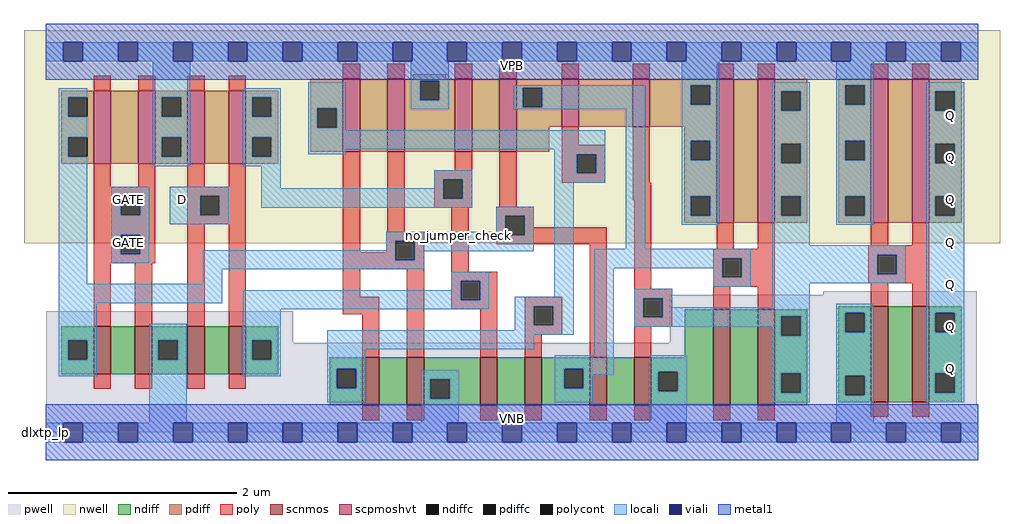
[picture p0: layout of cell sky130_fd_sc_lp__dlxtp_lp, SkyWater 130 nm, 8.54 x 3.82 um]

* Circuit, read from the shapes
.subckt sky130_fd_sc_lp__dlxtp_lp D GATE VGND VNB VPB VPWR Q
XM1 n1 GATE n2 VNB sky130_fd_pr__nfet_01v8 w=0.42 l=0.15
XM2 VGND GATE n1 VNB sky130_fd_pr__nfet_01v8 w=0.42 l=0.15
XM3 n3 D VGND VNB sky130_fd_pr__nfet_01v8 w=0.42 l=0.15
XM4 n4 D n3 VNB sky130_fd_pr__nfet_01v8 w=0.42 l=0.15
XM5 n5 n2 n6 VNB sky130_fd_pr__nfet_01v8 w=0.42 l=0.15
XM6 VGND n2 n5 VNB sky130_fd_pr__nfet_01v8 w=0.42 l=0.15
XM7 n7 n4 VGND VNB sky130_fd_pr__nfet_01v8 w=0.42 l=0.15
XM8 n8 n6 n7 VNB sky130_fd_pr__nfet_01v8 w=0.42 l=0.15
XM9 n9 n2 n8 VNB sky130_fd_pr__nfet_01v8 w=0.42 l=0.15
XM10 VGND n10 n9 VNB sky130_fd_pr__nfet_01v8 w=0.42 l=0.15
XM11 n11 n8 VGND VNB sky130_fd_pr__nfet_01v8 w=0.84 l=0.15
XM12 n10 n8 n11 VNB sky130_fd_pr__nfet_01v8 w=0.84 l=0.15
XM13 n12 n10 VGND VNB sky130_fd_pr__nfet_01v8 w=0.84 l=0.15
XM14 Q n10 n12 VNB sky130_fd_pr__nfet_01v8 w=0.84 l=0.15
XM15 n13 GATE n2 VPB sky130_fd_pr__pfet_01v8_hvt w=0.64 l=0.15
XM16 VPWR GATE n13 VPB sky130_fd_pr__pfet_01v8_hvt w=0.64 l=0.15
XM17 n14 D VPWR VPB sky130_fd_pr__pfet_01v8_hvt w=0.64 l=0.15
XM18 n4 D n14 VPB sky130_fd_pr__pfet_01v8_hvt w=0.64 l=0.15
XM19 n15 n2 n6 VPB sky130_fd_pr__pfet_01v8_hvt w=0.64 l=0.15
XM20 VPWR n2 n15 VPB sky130_fd_pr__pfet_01v8_hvt w=0.64 l=0.15
XM21 n16 n4 VPWR VPB sky130_fd_pr__pfet_01v8_hvt w=0.64 l=0.15
XM22 n8 n2 n16 VPB sky130_fd_pr__pfet_01v8_hvt w=0.64 l=0.15
XM23 n17 n6 n8 VPB sky130_fd_pr__pfet_01v8_hvt w=0.42 l=0.15
XM24 VPWR n10 n17 VPB sky130_fd_pr__pfet_01v8_hvt w=0.42 l=0.15
XM25 n18 n8 VPWR VPB sky130_fd_pr__pfet_01v8_hvt w=1.26 l=0.15
XM26 n10 n8 n18 VPB sky130_fd_pr__pfet_01v8_hvt w=1.26 l=0.15
XM27 n19 n10 VPWR VPB sky130_fd_pr__pfet_01v8_hvt w=1.26 l=0.15
XM28 Q n10 n19 VPB sky130_fd_pr__pfet_01v8_hvt w=1.26 l=0.15
.ends

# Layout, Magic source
magic
tech sky130A
magscale 1 2
<< nwell >>
rect -38 331 1670 704
<< pwell >>
rect 1361 241 1629 247
rect 1 157 433 212
rect 1092 157 1629 241
rect 1 49 1629 157
rect 0 0 1632 49
<< scnmos >>
rect 84 102 114 186
rect 156 102 186 186
rect 248 102 278 186
rect 320 102 350 186
rect 554 47 584 131
rect 632 47 662 131
rect 760 47 790 131
rect 838 47 868 131
rect 952 47 982 131
rect 1030 47 1060 131
rect 1168 47 1198 215
rect 1246 47 1276 215
rect 1444 53 1474 221
rect 1516 53 1546 221
<< scpmoshvt >>
rect 84 470 114 598
rect 162 470 192 598
rect 248 470 278 598
rect 320 470 350 598
rect 520 491 550 619
rect 598 491 628 619
rect 716 491 746 619
rect 794 491 824 619
rect 903 535 933 619
rect 1027 535 1057 619
rect 1174 367 1204 619
rect 1246 367 1276 619
rect 1444 367 1474 619
rect 1516 367 1546 619
<< ndiff >>
rect 27 161 84 186
rect 27 127 39 161
rect 73 127 84 161
rect 27 102 84 127
rect 114 102 156 186
rect 186 161 248 186
rect 186 127 197 161
rect 231 127 248 161
rect 186 102 248 127
rect 278 102 320 186
rect 350 161 407 186
rect 350 127 361 161
rect 395 127 407 161
rect 1118 131 1168 215
rect 350 102 407 127
rect 497 111 554 131
rect 497 77 509 111
rect 543 77 554 111
rect 497 47 554 77
rect 584 47 632 131
rect 662 93 760 131
rect 662 59 673 93
rect 707 59 760 93
rect 662 47 760 59
rect 790 47 838 131
rect 868 111 952 131
rect 868 77 907 111
rect 941 77 952 111
rect 868 47 952 77
rect 982 47 1030 131
rect 1060 106 1168 131
rect 1060 72 1072 106
rect 1106 72 1168 106
rect 1060 47 1168 72
rect 1198 47 1246 215
rect 1276 203 1333 215
rect 1276 169 1287 203
rect 1321 169 1333 203
rect 1276 103 1333 169
rect 1276 69 1287 103
rect 1321 69 1333 103
rect 1276 47 1333 69
rect 1387 209 1444 221
rect 1387 175 1399 209
rect 1433 175 1444 209
rect 1387 99 1444 175
rect 1387 65 1399 99
rect 1433 65 1444 99
rect 1387 53 1444 65
rect 1474 53 1516 221
rect 1546 209 1603 221
rect 1546 175 1557 209
rect 1591 175 1603 209
rect 1546 103 1603 175
rect 1546 69 1557 103
rect 1591 69 1603 103
rect 1546 53 1603 69
<< pdiff >>
rect 643 619 701 627
rect 27 586 84 598
rect 27 552 39 586
rect 73 552 84 586
rect 27 516 84 552
rect 27 482 39 516
rect 73 482 84 516
rect 27 470 84 482
rect 114 470 162 598
rect 192 586 248 598
rect 192 552 203 586
rect 237 552 248 586
rect 192 516 248 552
rect 192 482 203 516
rect 237 482 248 516
rect 192 470 248 482
rect 278 470 320 598
rect 350 586 407 598
rect 350 552 361 586
rect 395 552 407 586
rect 350 516 407 552
rect 350 482 361 516
rect 395 482 407 516
rect 463 567 520 619
rect 463 533 475 567
rect 509 533 520 567
rect 463 491 520 533
rect 550 491 598 619
rect 628 615 716 619
rect 628 581 655 615
rect 689 581 716 615
rect 628 491 716 581
rect 746 491 794 619
rect 824 603 903 619
rect 824 569 835 603
rect 869 569 903 603
rect 824 535 903 569
rect 933 535 1027 619
rect 1057 607 1174 619
rect 1057 573 1129 607
rect 1163 573 1174 607
rect 1057 535 1174 573
rect 824 491 881 535
rect 350 470 407 482
rect 1117 510 1174 535
rect 1117 476 1129 510
rect 1163 476 1174 510
rect 1117 413 1174 476
rect 1117 379 1129 413
rect 1163 379 1174 413
rect 1117 367 1174 379
rect 1204 367 1246 619
rect 1276 597 1333 619
rect 1276 563 1287 597
rect 1321 563 1333 597
rect 1276 505 1333 563
rect 1276 471 1287 505
rect 1321 471 1333 505
rect 1276 413 1333 471
rect 1276 379 1287 413
rect 1321 379 1333 413
rect 1276 367 1333 379
rect 1387 607 1444 619
rect 1387 573 1399 607
rect 1433 573 1444 607
rect 1387 510 1444 573
rect 1387 476 1399 510
rect 1433 476 1444 510
rect 1387 413 1444 476
rect 1387 379 1399 413
rect 1433 379 1444 413
rect 1387 367 1444 379
rect 1474 367 1516 619
rect 1546 597 1603 619
rect 1546 563 1557 597
rect 1591 563 1603 597
rect 1546 505 1603 563
rect 1546 471 1557 505
rect 1591 471 1603 505
rect 1546 413 1603 471
rect 1546 379 1557 413
rect 1591 379 1603 413
rect 1546 367 1603 379
<< ndiffc >>
rect 39 127 73 161
rect 197 127 231 161
rect 361 127 395 161
rect 509 77 543 111
rect 673 59 707 93
rect 907 77 941 111
rect 1072 72 1106 106
rect 1287 169 1321 203
rect 1287 69 1321 103
rect 1399 175 1433 209
rect 1399 65 1433 99
rect 1557 175 1591 209
rect 1557 69 1591 103
<< pdiffc >>
rect 39 552 73 586
rect 39 482 73 516
rect 203 552 237 586
rect 203 482 237 516
rect 361 552 395 586
rect 361 482 395 516
rect 475 533 509 567
rect 655 581 689 615
rect 835 569 869 603
rect 1129 573 1163 607
rect 1129 476 1163 510
rect 1129 379 1163 413
rect 1287 563 1321 597
rect 1287 471 1321 505
rect 1287 379 1321 413
rect 1399 573 1433 607
rect 1399 476 1433 510
rect 1399 379 1433 413
rect 1557 563 1591 597
rect 1557 471 1591 505
rect 1557 379 1591 413
<< poly >>
rect 84 598 114 624
rect 162 598 192 624
rect 248 598 278 624
rect 320 598 350 624
rect 520 619 550 645
rect 598 619 628 645
rect 716 619 746 645
rect 794 619 824 645
rect 903 619 933 645
rect 1027 619 1057 645
rect 1174 619 1204 645
rect 1246 619 1276 645
rect 1444 619 1474 645
rect 1516 619 1546 645
rect 903 503 933 535
rect 84 430 114 470
rect 162 430 192 470
rect 84 414 192 430
rect 84 380 131 414
rect 165 380 192 414
rect 84 346 192 380
rect 84 312 131 346
rect 165 312 192 346
rect 84 296 192 312
rect 248 430 278 470
rect 320 430 350 470
rect 248 414 350 430
rect 248 380 270 414
rect 304 380 350 414
rect 248 364 350 380
rect 84 186 114 296
rect 156 186 186 296
rect 248 186 278 364
rect 320 186 350 364
rect 520 315 550 491
rect 598 351 628 491
rect 716 459 746 491
rect 680 443 746 459
rect 680 409 696 443
rect 730 409 746 443
rect 680 393 746 409
rect 794 395 824 491
rect 903 487 979 503
rect 903 453 929 487
rect 963 453 979 487
rect 903 437 979 453
rect 1027 437 1057 535
rect 1027 407 1060 437
rect 596 335 662 351
rect 596 315 612 335
rect 520 301 612 315
rect 646 301 662 335
rect 520 285 662 301
rect 520 237 550 285
rect 520 207 584 237
rect 554 131 584 207
rect 632 131 662 285
rect 710 281 740 393
rect 788 379 854 395
rect 788 345 804 379
rect 838 359 854 379
rect 838 345 982 359
rect 788 329 982 345
rect 710 265 790 281
rect 710 231 726 265
rect 760 231 790 265
rect 710 215 790 231
rect 760 131 790 215
rect 838 221 904 237
rect 838 187 854 221
rect 888 187 904 221
rect 838 171 904 187
rect 838 131 868 171
rect 952 131 982 329
rect 1030 251 1060 407
rect 1174 321 1204 367
rect 1246 321 1276 367
rect 1444 327 1474 367
rect 1516 327 1546 367
rect 1168 305 1276 321
rect 1168 271 1184 305
rect 1218 271 1276 305
rect 1168 255 1276 271
rect 1439 311 1546 327
rect 1439 277 1455 311
rect 1489 277 1546 311
rect 1439 261 1546 277
rect 1030 235 1096 251
rect 1030 201 1046 235
rect 1080 201 1096 235
rect 1168 215 1198 255
rect 1246 215 1276 255
rect 1444 221 1474 261
rect 1516 221 1546 261
rect 1030 185 1096 201
rect 1030 131 1060 185
rect 84 76 114 102
rect 156 76 186 102
rect 248 76 278 102
rect 320 76 350 102
rect 554 21 584 47
rect 632 21 662 47
rect 760 21 790 47
rect 838 21 868 47
rect 952 21 982 47
rect 1030 21 1060 47
rect 1168 21 1198 47
rect 1246 21 1276 47
rect 1444 27 1474 53
rect 1516 27 1546 53
<< polycont >>
rect 131 380 165 414
rect 131 312 165 346
rect 270 380 304 414
rect 696 409 730 443
rect 929 453 963 487
rect 612 301 646 335
rect 804 345 838 379
rect 726 231 760 265
rect 854 187 888 221
rect 1184 271 1218 305
rect 1455 277 1489 311
rect 1046 201 1080 235
<< locali >>
rect 0 649 31 683
rect 65 649 127 683
rect 161 649 223 683
rect 257 649 319 683
rect 353 649 415 683
rect 449 649 511 683
rect 545 649 607 683
rect 641 649 703 683
rect 737 649 799 683
rect 833 649 895 683
rect 929 649 991 683
rect 1025 649 1087 683
rect 1121 649 1183 683
rect 1217 649 1279 683
rect 1313 649 1375 683
rect 1409 649 1471 683
rect 1505 649 1567 683
rect 1601 649 1632 683
rect 23 586 73 602
rect 23 552 39 586
rect 23 516 73 552
rect 23 482 39 516
rect 23 260 73 482
rect 187 586 253 649
rect 639 615 705 649
rect 187 552 203 586
rect 237 552 253 586
rect 187 516 253 552
rect 187 482 203 516
rect 237 482 253 516
rect 187 466 253 482
rect 345 586 411 602
rect 345 552 361 586
rect 395 552 411 586
rect 345 516 411 552
rect 345 482 361 516
rect 395 482 411 516
rect 459 567 525 613
rect 459 533 475 567
rect 509 533 525 567
rect 639 581 655 615
rect 689 581 705 615
rect 1113 607 1179 649
rect 639 565 705 581
rect 819 603 1049 607
rect 819 569 835 603
rect 869 569 1049 603
rect 819 565 1049 569
rect 459 529 525 533
rect 459 495 979 529
rect 459 487 525 495
rect 890 487 979 495
rect 345 466 411 482
rect 115 414 181 430
rect 115 380 131 414
rect 165 380 181 414
rect 115 346 181 380
rect 217 414 320 430
rect 217 380 270 414
rect 304 380 320 414
rect 377 427 411 466
rect 680 443 746 459
rect 680 427 696 443
rect 377 409 696 427
rect 730 409 746 443
rect 377 393 746 409
rect 890 453 929 487
rect 963 453 979 487
rect 890 437 979 453
rect 217 364 320 380
rect 788 379 854 395
rect 788 351 804 379
rect 115 312 131 346
rect 165 312 181 346
rect 596 345 804 351
rect 838 345 854 379
rect 596 335 854 345
rect 596 319 612 335
rect 115 296 181 312
rect 275 301 612 319
rect 646 317 854 335
rect 646 301 662 317
rect 275 285 662 301
rect 275 260 309 285
rect 23 226 309 260
rect 710 265 776 281
rect 710 249 726 265
rect 345 231 726 249
rect 760 231 776 265
rect 890 237 924 437
rect 1015 321 1049 565
rect 1113 573 1129 607
rect 1163 573 1179 607
rect 1113 510 1179 573
rect 1113 476 1129 510
rect 1163 476 1179 510
rect 1113 413 1179 476
rect 1113 379 1129 413
rect 1163 379 1179 413
rect 1113 363 1179 379
rect 1271 597 1337 613
rect 1271 563 1287 597
rect 1321 563 1337 597
rect 1271 505 1337 563
rect 1271 471 1287 505
rect 1321 471 1337 505
rect 1271 413 1337 471
rect 1271 379 1287 413
rect 1321 379 1337 413
rect 1271 327 1337 379
rect 1383 607 1449 649
rect 1383 573 1399 607
rect 1433 573 1449 607
rect 1383 510 1449 573
rect 1383 476 1399 510
rect 1433 476 1449 510
rect 1383 413 1449 476
rect 1383 379 1399 413
rect 1433 379 1449 413
rect 1383 363 1449 379
rect 1541 597 1607 613
rect 1541 563 1557 597
rect 1591 563 1607 597
rect 1541 505 1607 563
rect 1541 471 1557 505
rect 1591 471 1607 505
rect 1541 413 1607 471
rect 1541 379 1557 413
rect 1591 379 1607 413
rect 23 161 89 226
rect 345 215 776 231
rect 821 221 924 237
rect 23 127 39 161
rect 73 127 89 161
rect 23 98 89 127
rect 181 161 247 190
rect 181 127 197 161
rect 231 127 247 161
rect 181 17 247 127
rect 345 161 411 215
rect 821 187 854 221
rect 888 187 924 221
rect 821 179 924 187
rect 345 127 361 161
rect 395 127 411 161
rect 345 98 411 127
rect 493 171 924 179
rect 960 305 1234 321
rect 960 287 1184 305
rect 493 145 855 171
rect 493 111 559 145
rect 960 135 994 287
rect 1168 271 1184 287
rect 1218 271 1234 305
rect 1168 255 1234 271
rect 1271 311 1505 327
rect 1271 277 1455 311
rect 1489 277 1505 311
rect 1271 261 1505 277
rect 1030 235 1096 251
rect 1030 201 1046 235
rect 1080 219 1096 235
rect 1271 219 1337 261
rect 1080 203 1337 219
rect 1080 201 1287 203
rect 1030 185 1287 201
rect 1271 169 1287 185
rect 1321 169 1337 203
rect 493 77 509 111
rect 543 77 559 111
rect 891 111 994 135
rect 493 53 559 77
rect 657 93 723 109
rect 657 59 673 93
rect 707 59 723 93
rect 657 17 723 59
rect 891 77 907 111
rect 941 101 994 111
rect 1056 106 1122 135
rect 941 77 957 101
rect 891 53 957 77
rect 1056 72 1072 106
rect 1106 72 1122 106
rect 1056 17 1122 72
rect 1271 103 1337 169
rect 1271 69 1287 103
rect 1321 69 1337 103
rect 1271 53 1337 69
rect 1383 209 1449 225
rect 1383 175 1399 209
rect 1433 175 1449 209
rect 1383 99 1449 175
rect 1383 65 1399 99
rect 1433 65 1449 99
rect 1383 17 1449 65
rect 1541 209 1607 379
rect 1541 175 1557 209
rect 1591 175 1607 209
rect 1541 103 1607 175
rect 1541 69 1557 103
rect 1591 69 1607 103
rect 1541 53 1607 69
rect 0 -17 31 17
rect 65 -17 127 17
rect 161 -17 223 17
rect 257 -17 319 17
rect 353 -17 415 17
rect 449 -17 511 17
rect 545 -17 607 17
rect 641 -17 703 17
rect 737 -17 799 17
rect 833 -17 895 17
rect 929 -17 991 17
rect 1025 -17 1087 17
rect 1121 -17 1183 17
rect 1217 -17 1279 17
rect 1313 -17 1375 17
rect 1409 -17 1471 17
rect 1505 -17 1567 17
rect 1601 -17 1632 17
<< viali >>
rect 31 649 65 683
rect 127 649 161 683
rect 223 649 257 683
rect 319 649 353 683
rect 415 649 449 683
rect 511 649 545 683
rect 607 649 641 683
rect 703 649 737 683
rect 799 649 833 683
rect 895 649 929 683
rect 991 649 1025 683
rect 1087 649 1121 683
rect 1183 649 1217 683
rect 1279 649 1313 683
rect 1375 649 1409 683
rect 1471 649 1505 683
rect 1567 649 1601 683
rect 31 -17 65 17
rect 127 -17 161 17
rect 223 -17 257 17
rect 319 -17 353 17
rect 415 -17 449 17
rect 511 -17 545 17
rect 607 -17 641 17
rect 703 -17 737 17
rect 799 -17 833 17
rect 895 -17 929 17
rect 991 -17 1025 17
rect 1087 -17 1121 17
rect 1183 -17 1217 17
rect 1279 -17 1313 17
rect 1375 -17 1409 17
rect 1471 -17 1505 17
rect 1567 -17 1601 17
<< metal1 >>
rect 0 683 1632 715
rect 0 649 31 683
rect 65 649 127 683
rect 161 649 223 683
rect 257 649 319 683
rect 353 649 415 683
rect 449 649 511 683
rect 545 649 607 683
rect 641 649 703 683
rect 737 649 799 683
rect 833 649 895 683
rect 929 649 991 683
rect 1025 649 1087 683
rect 1121 649 1183 683
rect 1217 649 1279 683
rect 1313 649 1375 683
rect 1409 649 1471 683
rect 1505 649 1567 683
rect 1601 649 1632 683
rect 0 617 1632 649
rect 0 17 1632 49
rect 0 -17 31 17
rect 65 -17 127 17
rect 161 -17 223 17
rect 257 -17 319 17
rect 353 -17 415 17
rect 449 -17 511 17
rect 545 -17 607 17
rect 641 -17 703 17
rect 737 -17 799 17
rect 833 -17 895 17
rect 929 -17 991 17
rect 1025 -17 1087 17
rect 1121 -17 1183 17
rect 1217 -17 1279 17
rect 1313 -17 1375 17
rect 1409 -17 1471 17
rect 1505 -17 1567 17
rect 1601 -17 1632 17
rect 0 -49 1632 -17
<< labels >>
flabel pwell s 0 0 1632 49 0 FreeSans 200 0 0 0 VNB
port 4 nsew ground bidirectional
flabel nwell s 0 617 1632 666 0 FreeSans 200 0 0 0 VPB
port 5 nsew power bidirectional
rlabel comment s 0 0 0 0 4 dlxtp_lp
flabel comment s 722 344 722 344 0 FreeSans 200 90 0 0 no_jumper_check
flabel metal1 s 0 617 1632 666 0 FreeSans 340 0 0 0 VPWR
port 6 nsew power bidirectional
flabel metal1 s 0 0 1632 49 0 FreeSans 340 0 0 0 VGND
port 3 nsew ground bidirectional
flabel locali s 127 316 161 350 0 FreeSans 340 0 0 0 GATE
port 2 nsew clock input
flabel locali s 127 390 161 424 0 FreeSans 340 0 0 0 GATE
port 2 nsew clock input
flabel locali s 1567 94 1601 128 0 FreeSans 340 0 0 0 Q
port 7 nsew signal output
flabel locali s 1567 168 1601 202 0 FreeSans 340 0 0 0 Q
port 7 nsew signal output
flabel locali s 1567 242 1601 276 0 FreeSans 340 0 0 0 Q
port 7 nsew signal output
flabel locali s 1567 316 1601 350 0 FreeSans 340 0 0 0 Q
port 7 nsew signal output
flabel locali s 1567 390 1601 424 0 FreeSans 340 0 0 0 Q
port 7 nsew signal output
flabel locali s 1567 464 1601 498 0 FreeSans 340 0 0 0 Q
port 7 nsew signal output
flabel locali s 1567 538 1601 572 0 FreeSans 340 0 0 0 Q
port 7 nsew signal output
flabel locali s 223 390 257 424 0 FreeSans 340 0 0 0 D
port 1 nsew signal input
<< properties >>
string LEFsite unit
string LEFclass CORE
string FIXED_BBOX 0 0 1632 666
string GDS_FILE $PDKPATH/libs.ref/sky130_fd_sc_lp/gds/sky130_fd_sc_lp.gds
string LEFsymmetry X Y R90
string GDS_END 27054
string GDS_START 15672
<< end >>
